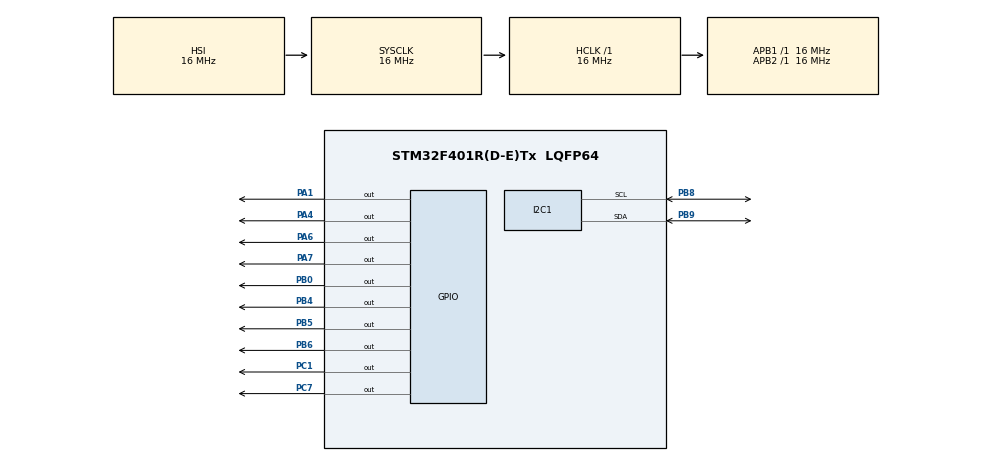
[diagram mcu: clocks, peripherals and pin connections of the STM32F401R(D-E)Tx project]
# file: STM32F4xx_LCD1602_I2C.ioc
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Mcu.Family=STM32F4
Mcu.Name=STM32F401R(D-E)Tx
Mcu.Package=LQFP64
NVIC.PriorityGroup=NVIC_PRIORITYGROUP_4
PA1.Signal=GPIO_Output
PA13.Mode=Serial_Wire
PA13.Signal=SYS_JTMS-SWDIO
PA14.Mode=Serial_Wire
PA14.Signal=SYS_JTCK-SWCLK
PA4.Signal=GPIO_Output
PA6.Signal=GPIO_Output
PA7.Signal=GPIO_Output
PB0.Signal=GPIO_Output
PB4.Signal=GPIO_Output
PB5.Signal=GPIO_Output
PB6.Signal=GPIO_Output
PB8.Mode=I2C
PB8.Signal=I2C1_SCL
PB9.Mode=I2C
PB9.Signal=I2C1_SDA
PC1.Signal=GPIO_Output
PC7.Signal=GPIO_Output
ProjectManager.HeapSize=0x200
ProjectManager.StackSize=0x400
ProjectManager.TargetToolchain=STM32CubeIDE
RCC.AHBFreq_Value=16000000
RCC.APB1Freq_Value=16000000
RCC.APB2Freq_Value=16000000
RCC.CortexFreq_Value=16000000
RCC.HSE_VALUE=25000000
RCC.HSI_VALUE=16000000
RCC.LSE_VALUE=32768
RCC.SYSCLKFreq_VALUE=16000000
RCC.VCOOutputFreq_Value=192000000
TIM2.Period=65535
TIM2.Prescaler=15
VP_TIM2_VS_ClockSourceINT.Mode=Internal
board=custom

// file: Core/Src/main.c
/* USER CODE BEGIN Header */
/**
  ******************************************************************************
  * @file           : main.c
  * @brief          : Main program body
  ******************************************************************************
  * @attention
  *
  * Copyright (c) 2025 STMicroelectronics.
  * All rights reserved.
  *
  * This software is licensed under terms that can be found in the LICENSE file
  * in the root directory of this software component.
  * If no LICENSE file comes with this software, it is provided AS-IS.
  *
  ******************************************************************************
  */
/* USER CODE END Header */
#include "main.h"

/* USER CODE BEGIN Includes */
#include <stdio.h>
#include <string.h>

#include "../../DelayMicro/Inc/delay_micro.h"
#include "../../Lcd1602_i2c/Inc/lcd1602_i2c.h"
#include "../../Lcd1602_i2c_tests/Inc/lcd1602_i2c_tests.h"

/* USER CODE END Includes */

I2C_HandleTypeDef hi2c1;

TIM_HandleTypeDef htim2;

void SystemClock_Config(void);
static void MX_GPIO_Init(void);
static void MX_I2C1_Init(void);
static void MX_TIM2_Init(void);

int main(void)
{

  /* MCU Configuration--------------------------------------------------------*/

  /* Reset of all peripherals, Initializes the Flash interface and the Systick. */
  HAL_Init();

  /* Configure the system clock */
  SystemClock_Config();

  /* USER CODE BEGIN SysInit */
  // Initialize TIM2 to use for micro-delays
  //*********************************TIM2MicrosecondsDelayInit();
  /* USER CODE END SysInit */

  /* Initialize all configured peripherals */
  MX_GPIO_Init();
  MX_I2C1_Init();
  MX_TIM2_Init();
  /* USER CODE BEGIN 2 */
  TIM2MicrosecondsDelayInit();

  ShowLCD1602Interface(LCD1602_I2C);
  ShowLCD1602Interface(LCD1602_DATA_BUS_SIZE4);
  HAL_Delay(4000);
  if (PrologueTestsLCD1602(LCD1602_I2C, "LCD-1602", "Start I2C test") == 1)
  {
	  HAL_Delay(2000);
      TestsLCD1602();
      EpilogeTestsLCD1602();
      HAL_Delay(2000);
      Lcd1602SwitchDisplayOnOffThrougPCF8574T(0);
      HAL_Delay(2000);
	  Lcd1602SwitchDisplayOnOffThrougPCF8574T(1);
	  HAL_Delay(1000);
	  Lcd1602ScreenClear();
	  Lcd1602SwitchDisplayOnOffThrougPCF8574T(0);
  }
  Lcd1602SwitchDisplayOnOffThrougPCF8574T(0);
  if (PrologueTestsLCD1602(LCD1602_DATA_BUS_SIZE4, "LCD-1602", "Start 4-bit test") == 1)
  {
      HAL_Delay(2000);
      TestsLCD1602();
      EpilogeTestsLCD1602();
  }
  if (PrologueTestsLCD1602(LCD1602_DATA_BUS_SIZE8, "LCD-1602", "Start 8-bit test") == 1)
  {
      HAL_Delay(2000);
      TestsLCD1602();
      EpilogeTestsLCD1602();
  }
  /* USER CODE END 2 */

  /* Infinite loop */
  while (1)
  {

  }
}

void SystemClock_Config(void)
{
  RCC_OscInitTypeDef RCC_OscInitStruct = {0};
  RCC_ClkInitTypeDef RCC_ClkInitStruct = {0};

  /** Configure the main internal regulator output voltage
  */
  __HAL_RCC_PWR_CLK_ENABLE();
  __HAL_PWR_VOLTAGESCALING_CONFIG(PWR_REGULATOR_VOLTAGE_SCALE2);

  /** Initializes the RCC Oscillators according to the specified parameters
  * in the RCC_OscInitTypeDef structure.
  */
  RCC_OscInitStruct.OscillatorType = RCC_OSCILLATORTYPE_HSI;
  RCC_OscInitStruct.HSIState = RCC_HSI_ON;
  RCC_OscInitStruct.HSICalibrationValue = RCC_HSICALIBRATION_DEFAULT;
  RCC_OscInitStruct.PLL.PLLState = RCC_PLL_NONE;
  if (HAL_RCC_OscConfig(&RCC_OscInitStruct) != HAL_OK)
  {
    Error_Handler();
  }

  /** Initializes the CPU, AHB and APB buses clocks
  */
  RCC_ClkInitStruct.ClockType = RCC_CLOCKTYPE_HCLK|RCC_CLOCKTYPE_SYSCLK
                              |RCC_CLOCKTYPE_PCLK1|RCC_CLOCKTYPE_PCLK2;
  RCC_ClkInitStruct.SYSCLKSource = RCC_SYSCLKSOURCE_HSI;
  RCC_ClkInitStruct.AHBCLKDivider = RCC_SYSCLK_DIV1;
  RCC_ClkInitStruct.APB1CLKDivider = RCC_HCLK_DIV1;
  RCC_ClkInitStruct.APB2CLKDivider = RCC_HCLK_DIV1;

  if (HAL_RCC_ClockConfig(&RCC_ClkInitStruct, FLASH_LATENCY_0) != HAL_OK)
  {
    Error_Handler();
  }
}

static void MX_I2C1_Init(void)
{

  hi2c1.Instance = I2C1;
  hi2c1.Init.ClockSpeed = 100000;
  hi2c1.Init.DutyCycle = I2C_DUTYCYCLE_2;
  hi2c1.Init.OwnAddress1 = 0;
  hi2c1.Init.AddressingMode = I2C_ADDRESSINGMODE_7BIT;
  hi2c1.Init.DualAddressMode = I2C_DUALADDRESS_DISABLE;
  hi2c1.Init.OwnAddress2 = 0;
  hi2c1.Init.GeneralCallMode = I2C_GENERALCALL_DISABLE;
  hi2c1.Init.NoStretchMode = I2C_NOSTRETCH_DISABLE;
  if (HAL_I2C_Init(&hi2c1) != HAL_OK)
  {
    Error_Handler();
  }

}

static void MX_TIM2_Init(void)
{

  TIM_ClockConfigTypeDef sClockSourceConfig = {0};
  TIM_MasterConfigTypeDef sMasterConfig = {0};

  htim2.Instance = TIM2;
  htim2.Init.Prescaler = 15;
  htim2.Init.CounterMode = TIM_COUNTERMODE_UP;
  htim2.Init.Period = 65535;
  htim2.Init.ClockDivision = TIM_CLOCKDIVISION_DIV1;
  htim2.Init.AutoReloadPreload = TIM_AUTORELOAD_PRELOAD_DISABLE;
  if (HAL_TIM_Base_Init(&htim2) != HAL_OK)
  {
    Error_Handler();
  }
  sClockSourceConfig.ClockSource = TIM_CLOCKSOURCE_INTERNAL;
  if (HAL_TIM_ConfigClockSource(&htim2, &sClockSourceConfig) != HAL_OK)
  {
    Error_Handler();
  }
  sMasterConfig.MasterOutputTrigger = TIM_TRGO_RESET;
  sMasterConfig.MasterSlaveMode = TIM_MASTERSLAVEMODE_DISABLE;
  if (HAL_TIMEx_MasterConfigSynchronization(&htim2, &sMasterConfig) != HAL_OK)
  {
    Error_Handler();
  }

}

static void MX_GPIO_Init(void)
{
  GPIO_InitTypeDef GPIO_InitStruct = {0};

  /* GPIO Ports Clock Enable */
  __HAL_RCC_GPIOC_CLK_ENABLE();
  __HAL_RCC_GPIOA_CLK_ENABLE();
  __HAL_RCC_GPIOB_CLK_ENABLE();

  /*Configure GPIO pin Output Level */
  HAL_GPIO_WritePin(GPIOC, GPIO_PIN_1|GPIO_PIN_7, GPIO_PIN_RESET);

  /*Configure GPIO pin Output Level */
  HAL_GPIO_WritePin(GPIOA, GPIO_PIN_1|GPIO_PIN_4|GPIO_PIN_6|GPIO_PIN_7, GPIO_PIN_RESET);

  /*Configure GPIO pin Output Level */
  HAL_GPIO_WritePin(GPIOB, GPIO_PIN_0|GPIO_PIN_4|GPIO_PIN_5|GPIO_PIN_6, GPIO_PIN_RESET);

  /*Configure GPIO pins : PC1 PC7 */
  GPIO_InitStruct.Pin = GPIO_PIN_1|GPIO_PIN_7;
  GPIO_InitStruct.Mode = GPIO_MODE_OUTPUT_PP;
  GPIO_InitStruct.Pull = GPIO_NOPULL;
  GPIO_InitStruct.Speed = GPIO_SPEED_FREQ_LOW;
  HAL_GPIO_Init(GPIOC, &GPIO_InitStruct);

  /*Configure GPIO pins : PA1 PA4 PA6 PA7 */
  GPIO_InitStruct.Pin = GPIO_PIN_1|GPIO_PIN_4|GPIO_PIN_6|GPIO_PIN_7;
  GPIO_InitStruct.Mode = GPIO_MODE_OUTPUT_PP;
  GPIO_InitStruct.Pull = GPIO_NOPULL;
  GPIO_InitStruct.Speed = GPIO_SPEED_FREQ_LOW;
  HAL_GPIO_Init(GPIOA, &GPIO_InitStruct);

  /*Configure GPIO pins : PB0 PB4 PB5 PB6 */
  GPIO_InitStruct.Pin = GPIO_PIN_0|GPIO_PIN_4|GPIO_PIN_5|GPIO_PIN_6;
  GPIO_InitStruct.Mode = GPIO_MODE_OUTPUT_PP;
  GPIO_InitStruct.Pull = GPIO_NOPULL;
  GPIO_InitStruct.Speed = GPIO_SPEED_FREQ_LOW;
  HAL_GPIO_Init(GPIOB, &GPIO_InitStruct);

}

void Error_Handler(void)
{
  __disable_irq();
  while (1)
  {
  }
}
